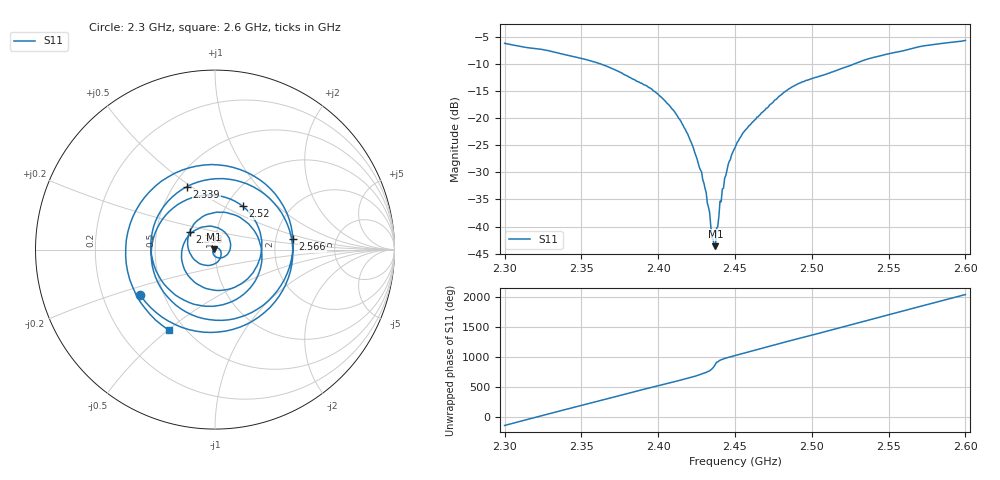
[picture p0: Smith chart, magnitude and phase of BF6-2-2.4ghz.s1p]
! NanoVNA-App
! Date: 2026-06-16 00:33:09
! Start: 2.3GHz Stop: 2.6GHz Points: 401
! S-Parameter data: F S11
# Hz S RI R 50
!  Frequency  S11_Real  S11_Imag
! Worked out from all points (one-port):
!   401 points, 2.3 GHz to 2.6 GHz, reference 50 ohm
!   lowest |S11| = -43.6 dB at 2.437 GHz (marker M1), VSWR 1.01, Z = 49.4 + j0.275 ohm
!   |S11| at or under -10 dB: 2.362 GHz to 2.528 GHz (165.8 MHz wide, 6.78 % of centre)
!   S11 on the Smith chart (normalised r, x): 2.3 GHz: 0.37, -0.25; 2.339 GHz: 0.58, +0.48; 2.398 GHz: 0.74, +0.15; 2.52 GHz: 1.19, +0.62; 2.566 GHz: 2.50, +0.36; 2.6 GHz: 0.41, -0.51
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2.3e9  -0.4154 -0.2551
2.30975e9  0.0597 -0.4541
2.32025e9  0.4278 -0.0832
2.33e9  0.2456 0.3309
2.3375e9  -0.0939 0.3768
2.339e9  -0.1569 0.3507
2.34875e9  -0.3568 0.00404
2.35925e9  -0.1176 -0.3046
2.375e9  0.2613 -0.0381
2.38625e9  0.0856 0.1997
2.39825e9  -0.1413 0.1
2.4125e9  -0.0584 -0.0865
2.42675e9  0.0325 -0.0136
2.43725e9  -0.00599 0.00279
2.44325e9  -0.00859 -0.0265
2.45e9  0.0267 -0.0461
2.474e9  -0.0442 0.1295
2.4875e9  -0.1845 -0.0617
2.50175e9  0.0914 -0.2167
2.51975e9  0.154 0.2418
2.525e9  -0.0196 0.3038
2.54075e9  -0.3417 -0.1224
2.552e9  0.0383 -0.3942
2.5625e9  0.4154 -0.0966
2.5655e9  0.4342 0.0579
2.5805e9  -0.1432 0.4558
2.59025e9  -0.4941 0.0537
2.6e9  -0.2554 -0.4507
